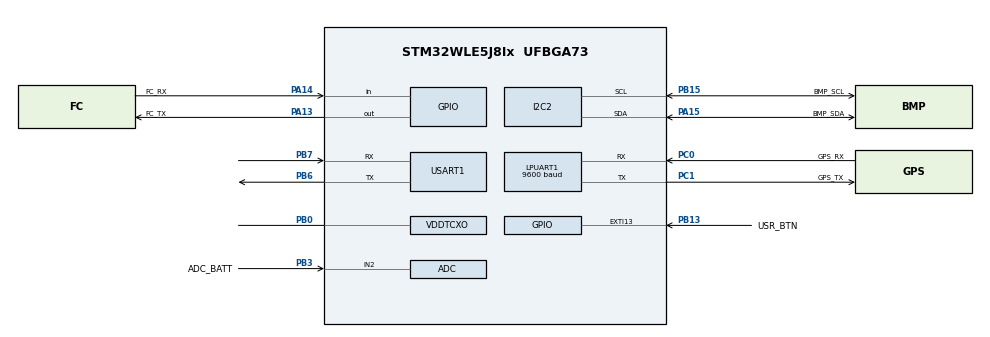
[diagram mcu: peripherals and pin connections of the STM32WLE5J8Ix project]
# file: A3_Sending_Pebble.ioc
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ADC.ExternalTrigConv=ADC_EXTERNALTRIG_T2_TRGO
ADC.LowPowerAutoWait=ENABLE
ADC.NbrOfConversion=1
ADC.SamplingTimeCommon1=ADC_SAMPLETIME_3CYCLES_5
ADC.SamplingTimeCommon2=ADC_SAMPLETIME_3CYCLES_5
ADC.SelectedChannel=ADC_CHANNEL_2
Dma.LPUART1_RX.1.Direction=DMA_PERIPH_TO_MEMORY
Dma.LPUART1_RX.1.EventEnable=DISABLE
Dma.LPUART1_RX.1.Instance=DMA1_Channel2
Dma.LPUART1_RX.1.MemDataAlignment=DMA_MDATAALIGN_BYTE
Dma.LPUART1_RX.1.MemInc=DMA_MINC_ENABLE
Dma.LPUART1_RX.1.Mode=DMA_CIRCULAR
Dma.LPUART1_RX.1.PeriphDataAlignment=DMA_PDATAALIGN_BYTE
Dma.LPUART1_RX.1.PeriphInc=DMA_PINC_DISABLE
Dma.LPUART1_RX.1.Polarity=HAL_DMAMUX_REQ_GEN_RISING
Dma.LPUART1_RX.1.Priority=DMA_PRIORITY_LOW
Dma.LPUART1_RX.1.RequestNumber=1
Dma.LPUART1_RX.1.SignalID=NONE
Dma.LPUART1_RX.1.SyncEnable=DISABLE
Dma.LPUART1_RX.1.SyncPolarity=HAL_DMAMUX_SYNC_NO_EVENT
Dma.LPUART1_RX.1.SyncRequestNumber=1
Dma.LPUART1_RX.1.SyncSignalID=NONE
Dma.Request0=USART1_TX
Dma.Request1=LPUART1_RX
Dma.USART1_TX.0.Direction=DMA_MEMORY_TO_PERIPH
Dma.USART1_TX.0.EventEnable=DISABLE
Dma.USART1_TX.0.Instance=DMA1_Channel1
Dma.USART1_TX.0.MemDataAlignment=DMA_MDATAALIGN_BYTE
Dma.USART1_TX.0.MemInc=DMA_MINC_ENABLE
Dma.USART1_TX.0.Mode=DMA_NORMAL
Dma.USART1_TX.0.PeriphDataAlignment=DMA_PDATAALIGN_BYTE
Dma.USART1_TX.0.PeriphInc=DMA_PINC_DISABLE
Dma.USART1_TX.0.Polarity=HAL_DMAMUX_REQ_GEN_RISING
Dma.USART1_TX.0.Priority=DMA_PRIORITY_LOW
Dma.USART1_TX.0.RequestNumber=1
Dma.USART1_TX.0.SignalID=NONE
Dma.USART1_TX.0.SyncEnable=DISABLE
Dma.USART1_TX.0.SyncPolarity=HAL_DMAMUX_SYNC_NO_EVENT
Dma.USART1_TX.0.SyncRequestNumber=1
Dma.USART1_TX.0.SyncSignalID=NONE
FREERTOS.Queues01=GPS_Queue,10,gps_t,0,Dynamic,NULL,NULL;Alt_Queue,10,alt_sensor_t,0,Dynamic,NULL,NULL;FC_Queue,10,uint16_t,0,Dynamic,NULL,NULL
FREERTOS.Tasks01=Conops_Task,24,512,Conops_Process,Default,NULL,Dynamic,NULL,NULL;GPS_Task,8,512,GPS_Process,Default,NULL,Dynamic,NULL,NULL;Altimeter_Task,8,512,Altimeter_Process,Default,NULL,Dynamic,NULL,NULL;FC_Task,8,512,FC_Process,Default,NULL,Dynamic,NULL,NULL;Telemetry,8,512,Telem_process,Default,NULL,Dynamic,NULL,NULL
FREERTOS.configTOTAL_HEAP_SIZE=16384
FREERTOS.configUSE_NEWLIB_REENTRANT=0
I2C2.Timing=0x10805D88
LPUART1.BaudRate=9600
LPUART1.ClockPrescaler=UART_PRESCALER_DIV2
Mcu.Family=STM32WL
Mcu.Name=STM32WLE5J8Ix
Mcu.Package=UFBGA73
Mcu.UserConstants=RTC_PREDIV_A,((1<<(15-RTC_N_PREDIV_S))-1);RTC_N_PREDIV_S,10;RTC_PREDIV_S,((1<<RTC_N_PREDIV_S)-1)
NVIC.ADC_IRQn=true\:5\:0\:false\:false\:true\:true\:true\:true\:true
NVIC.DMA1_Channel1_IRQn=true\:5\:0\:false\:false\:true\:true\:false\:true\:true
NVIC.DMA1_Channel2_IRQn=true\:5\:0\:false\:false\:true\:true\:false\:true\:true
NVIC.EXTI15_10_IRQn=true\:5\:0\:false\:false\:true\:true\:true\:true\:true
NVIC.I2C2_ER_IRQn=true\:5\:0\:false\:false\:true\:true\:true\:true\:true
NVIC.I2C2_EV_IRQn=true\:5\:0\:false\:false\:true\:true\:true\:true\:true
NVIC.LPUART1_IRQn=true\:5\:0\:false\:false\:true\:true\:true\:true\:true
NVIC.PriorityGroup=NVIC_PRIORITYGROUP_4
NVIC.RCC_IRQn=true\:5\:0\:false\:false\:true\:true\:true\:false\:true
NVIC.SUBGHZ_Radio_IRQn=true\:5\:0\:false\:false\:true\:true\:true\:true\:true
NVIC.TIM17_IRQn=true\:15\:0\:false\:false\:true\:false\:false\:true\:true
NVIC.TIM1_UP_IRQn=true\:5\:0\:false\:false\:true\:true\:true\:true\:true
NVIC.TimeBase=TIM17_IRQn
NVIC.TimeBaseIP=TIM17
NVIC.USART1_IRQn=true\:5\:0\:false\:false\:true\:true\:false\:true\:true
OSC_IN.Mode=HSE-TCXO
OSC_IN.Signal=RCC_OSC_IN
PA13.GPIO_Label=FC_TX
PA13.GPIO_Speed=GPIO_SPEED_FREQ_VERY_HIGH
PA13.PinState=GPIO_PIN_SET
PA13.Signal=GPIO_Output
PA14.GPIO_Label=FC_RX
PA14.GPIO_PuPd=GPIO_PULLUP
PA14.Signal=GPIO_Input
PA15.GPIO_Label=BMP_SDA
PA15.Mode=I2C
PA15.Signal=I2C2_SDA
PB0-VDD_TCXO.Mode=HSE-TCXO
PB0-VDD_TCXO.Signal=VDDTCXO
PB13.GPIO_Label=USR_BTN
PB13.GPIO_PuPd=GPIO_PULLDOWN
PB13.Signal=GPXTI13
PB15.GPIO_Label=BMP_SCL
PB15.Mode=I2C
PB15.Signal=I2C2_SCL
PB3.GPIO_Label=ADC_BATT
PB3.Mode=IN2
PB3.Signal=ADC_IN2
PB6.GPIO_Speed=GPIO_SPEED_FREQ_VERY_HIGH
PB6.Mode=Asynchronous
PB6.Signal=USART1_TX
PB7.GPIO_Speed=GPIO_SPEED_FREQ_VERY_HIGH
PB7.Mode=Asynchronous
PB7.Signal=USART1_RX
PC0.GPIO_Label=GPS_RX
PC0.Mode=Asynchronous
PC0.Signal=LPUART1_RX
PC1.GPIO_Label=GPS_TX
PC1.Mode=Asynchronous
PC1.Signal=LPUART1_TX
PC14-OSC32_IN.Mode=LSE-External-Oscillator
PC14-OSC32_IN.Signal=RCC_OSC32_IN
PC15-OSC32_OUT.Mode=LSE-External-Oscillator
PC15-OSC32_OUT.Signal=RCC_OSC32_OUT
ProjectManager.HeapSize=0x200
ProjectManager.StackSize=0x400
ProjectManager.TargetToolchain=CMake
RCC.AHBFreq_Value=48000000
RCC.APB1Freq_Value=48000000
RCC.APB1TimFreq_Value=48000000
RCC.APB2Freq_Value=48000000
RCC.APB2TimFreq_Value=48000000
RCC.APB3Freq_Value=48000000
RCC.CortexFreq_Value=48000000
RCC.HCLKFreq_Value=48000000
RCC.HSE_VALUE=8000000
RCC.HSI_VALUE=16000000
RCC.LSE_VALUE=32768
RCC.MSIClockRange=RCC_MSIRANGE_11
RCC.SYSCLKFreq_VALUE=48000000
RCC.VCOOutputFreq_Value=384000000
RTC.Alarm-Alarm\ A=RTC_ALARM_A
SUBGHZ_PHY.USE_RTC=true
SUBGHZ_PHY.USE_UART=true
SubGHz_Phy.BSP.number=2
SubGHz_Phy0.BSP.STBoard=false
SubGHz_Phy0.BSP.api=Unknown
SubGHz_Phy0.BSP.condition=\!SEM_SUBGHZ_USER_APPLICATION | SEM_SUBGHZ_USE_RTC
SubGHz_Phy0.BSP.instance=RTC
SubGHz_Phy0.BSP.ip=RTC
SubGHz_Phy0.BSP.mode=RTC Enabled
SubGHz_Phy0.BSP.name=RTC
SubGHz_Phy0.BSP.solution=RTC
SubGHz_Phy1.BSP.STBoard=false
SubGHz_Phy1.BSP.api=Unknown
SubGHz_Phy1.BSP.condition=\!SEM_SUBGHZ_USER_APPLICATION | SEM_SUBGHZ_USE_UART
SubGHz_Phy1.BSP.instance=USART1
SubGHz_Phy1.BSP.ip=(LPU|US)ART
SubGHz_Phy1.BSP.mode=Asynchronous
SubGHz_Phy1.BSP.name=USART
SubGHz_Phy1.BSP.solution=USART1
TIM1.AutoReloadPreload=TIM_AUTORELOAD_PRELOAD_ENABLE
TIM1.Period=999
TIM2.AutoReloadPreload=TIM_AUTORELOAD_PRELOAD_ENABLE
TIM2.Period=59999 
TIM2.Prescaler=41999
TIM2.TIM_MasterOutputTrigger=TIM_TRGO_UPDATE
USART1.VirtualMode-Asynchronous=VM_ASYNC
VP_ADV_TRACE_VS_ADV_TRACE.Mode=ADV_TRACE_Enabled
VP_FREERTOS_VS_CMSIS_V2.Mode=CMSIS_V2
VP_MISC_VS_MISC.Mode=MISC_Enabled
VP_RTC_VS_RTC_Activate.Mode=RTC_Enabled
VP_RTC_VS_RTC_Alarm_A_Intern.Mode=Alarm A
VP_RTC_VS_RTC_Calendar.Mode=RTC_Calendar
VP_SUBGHZ_PHY_VS_SubGhzPhy.Mode=SubGhzPhy_Enabled
VP_SUBGHZ_VS_SUBGHZ.Mode=SUBGHZ_Activate
VP_SYS_VS_tim17.Mode=TIM17
VP_TIM1_VS_ClockSourceINT.Mode=Internal
VP_TIM2_VS_ClockSourceINT.Mode=Internal
VP_TIMER_VS_TIMER.Mode=TIMER_Enabled
VP_TINY_LPM_VS_TINY_LPM.Mode=TINY_LPM_Enabled
board=custom

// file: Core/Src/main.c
/* USER CODE BEGIN Header */
/**
  ******************************************************************************
  * @file           : main.c
  * @brief          : Main program body
  ******************************************************************************
  * @attention
  *
  * Copyright (c) 2026 STMicroelectronics.
  * All rights reserved.
  *
  * This software is licensed under terms that can be found in the LICENSE file
  * in the root directory of this software component.
  * If no LICENSE file comes with this software, it is provided AS-IS.
  *
  ******************************************************************************
  */
/* USER CODE END Header */
#include "main.h"
#include "cmsis_os2.h"
#include "FreeRTOS.h"
#include "app_subghz_phy.h"

/* USER CODE BEGIN Includes */
#include "stm32wlxx_hal_gpio_ex.h"
#include "stm32wlxx_hal_i2c.h"
#include "subghz_phy_app.h"
#include "radio.h"
#include "sys_app.h"
#include "utilities_conf.h"
#include "gps.h"
#include <stdint.h>
#include <string.h>
#include <sys/_intsup.h>
#include "usart_if.h"
#include "altimeter.h"
#include "softuart.h"
/* USER CODE END Includes */

/* USER CODE BEGIN PTD */
typedef enum{
  OFF,
  PRE_FLIGHT,
  ARMED,
  IN_FLIGHT,
  RECOVERY
}deviceState_t;

typedef struct __attribute__((packed)){

  const char  header[3];
  uint8_t  utc_hour;
  uint8_t  utc_minute;
  uint8_t  utc_seconds;

  int32_t  lat;
  uint8_t  lat_ns;
  int32_t  lon;
  uint8_t  lon_ew;
  int32_t  altitude;

  uint8_t  status;
  uint8_t  fix_quality;
  uint8_t  num_sats;

  uint32_t baro_alt;
  uint16_t sensor_status;
  deviceState_t  rocket_state;
  uint16_t batt_v;

}telem_packet_t;
/* USER CODE END PTD */

ADC_HandleTypeDef hadc;

I2C_HandleTypeDef hi2c2;

UART_HandleTypeDef hlpuart1;
UART_HandleTypeDef huart1;
DMA_HandleTypeDef hdma_lpuart1_rx;
DMA_HandleTypeDef hdma_usart1_tx;

RTC_HandleTypeDef hrtc;

SUBGHZ_HandleTypeDef hsubghz;

TIM_HandleTypeDef htim1;
TIM_HandleTypeDef htim2;

/* Definitions for Conops_Task */
osThreadId_t Conops_TaskHandle;
const osThreadAttr_t Conops_Task_attributes = {
  .name = "Conops_Task",
  .priority = (osPriority_t) osPriorityNormal,
  .stack_size = 512 * 4
};
/* Definitions for GPS_Task */
osThreadId_t GPS_TaskHandle;
const osThreadAttr_t GPS_Task_attributes = {
  .name = "GPS_Task",
  .priority = (osPriority_t) osPriorityLow,
  .stack_size = 512 * 4
};
/* Definitions for Altimeter_Task */
osThreadId_t Altimeter_TaskHandle;
const osThreadAttr_t Altimeter_Task_attributes = {
  .name = "Altimeter_Task",
  .priority = (osPriority_t) osPriorityLow,
  .stack_size = 512 * 4
};
/* Definitions for FC_Task */
osThreadId_t FC_TaskHandle;
const osThreadAttr_t FC_Task_attributes = {
  .name = "FC_Task",
  .priority = (osPriority_t) osPriorityLow,
  .stack_size = 512 * 4
};
/* Definitions for Telemetry */
osThreadId_t TelemetryHandle;
const osThreadAttr_t Telemetry_attributes = {
  .name = "Telemetry",
  .priority = (osPriority_t) osPriorityLow,
  .stack_size = 512 * 4
};
/* Definitions for GPS_Queue */
osMessageQueueId_t GPS_QueueHandle;
const osMessageQueueAttr_t GPS_Queue_attributes = {
  .name = "GPS_Queue"
};
/* Definitions for Alt_Queue */
osMessageQueueId_t Alt_QueueHandle;
const osMessageQueueAttr_t Alt_Queue_attributes = {
  .name = "Alt_Queue"
};
/* Definitions for FC_Queue */
osMessageQueueId_t FC_QueueHandle;
const osMessageQueueAttr_t FC_Queue_attributes = {
  .name = "FC_Queue"
};

void SystemClock_Config(void);
static void MX_GPIO_Init(void);
static void MX_LPUART1_UART_Init(void);
static void MX_I2C2_Init(void);
static void MX_TIM1_Init(void);
static void MX_ADC_Init(void);
static void MX_TIM2_Init(void);
void Conops_Process(void *argument);
void GPS_Process(void *argument);
void Altimeter_Process(void *argument);
void FC_Process(void *argument);
void Telem_process(void *argument);

/* USER CODE BEGIN PFP */
void header_art();
void check_debug_pins();
uint8_t getchar_v2(uint8_t SoftUartNumber);
static void setState(deviceState_t new_state);

/* USER CODE END PFP */

/* USER CODE BEGIN 0 */

//Variables for GPS
#define NMEASIZE 85                        // max NMEA sentence length
extern uint8_t dma_rx_buf[];               // circular DMA landing buffer (defined in usart_if.c)
static uint8_t gps_buffer[NMEASIZE + 1];   // assembles one NMEA sentence
static volatile uint8_t gps_ready_flg;     // set when a full sentence is ready
gps_t gps_data;                            // holds the gps data

deviceState_t state;

uint16_t batt_mV;
uint16_t batt_voltage_lookup[] = {3500, 3560, 3620, 3680, 3740, 3800, 3860, 3920, 3980, 4040, 4100};
/* USER CODE END 0 */

int main(void)
{

  /* MCU Configuration--------------------------------------------------------*/

  /* Reset of all peripherals, Initializes the Flash interface and the Systick. */
  HAL_Init();

  /* Configure the system clock */
  SystemClock_Config();

  /* Initialize all configured peripherals */
  MX_GPIO_Init();
  MX_DMA_Init();
  MX_RTC_Init();
  MX_USART1_UART_Init();
  MX_LPUART1_UART_Init();
  MX_I2C2_Init();
  MX_TIM1_Init();
  MX_ADC_Init();
  MX_TIM2_Init();

  /* Init scheduler */
  osKernelInitialize();

  /* Create the queue(s) */
  /* creation of GPS_Queue */
  GPS_QueueHandle = osMessageQueueNew (10, sizeof(gps_t), &GPS_Queue_attributes);

  /* creation of Alt_Queue */
  Alt_QueueHandle = osMessageQueueNew (10, sizeof(alt_sensor_t), &Alt_Queue_attributes);

  /* creation of FC_Queue */
  FC_QueueHandle = osMessageQueueNew (10, sizeof(uint16_t), &FC_Queue_attributes);

  /* Create the thread(s) */
  /* creation of Conops_Task */
  Conops_TaskHandle = osThreadNew(Conops_Process, NULL, &Conops_Task_attributes);

  /* creation of GPS_Task */
  GPS_TaskHandle = osThreadNew(GPS_Process, NULL, &GPS_Task_attributes);

  /* creation of Altimeter_Task */
  Altimeter_TaskHandle = osThreadNew(Altimeter_Process, NULL, &Altimeter_Task_attributes);

  /* creation of FC_Task */
  FC_TaskHandle = osThreadNew(FC_Process, NULL, &FC_Task_attributes);

  /* creation of Telemetry */
  TelemetryHandle = osThreadNew(Telem_process, NULL, &Telemetry_attributes);

  /* Start scheduler */
  osKernelStart();

  /* We should never get here as control is now taken by the scheduler */

  /* Infinite loop */
  while (1)
  {

  }
}

void SystemClock_Config(void)
{
  RCC_OscInitTypeDef RCC_OscInitStruct = {0};
  RCC_ClkInitTypeDef RCC_ClkInitStruct = {0};

  /** Configure LSE Drive Capability
  */
  HAL_PWR_EnableBkUpAccess();
  __HAL_RCC_LSEDRIVE_CONFIG(RCC_LSEDRIVE_LOW);

  /** Configure the main internal regulator output voltage
  */
  __HAL_PWR_VOLTAGESCALING_CONFIG(PWR_REGULATOR_VOLTAGE_SCALE1);

  /** Initializes the CPU, AHB and APB buses clocks
  */
  RCC_OscInitStruct.OscillatorType = RCC_OSCILLATORTYPE_LSI|RCC_OSCILLATORTYPE_LSE
                              |RCC_OSCILLATORTYPE_MSI;
  RCC_OscInitStruct.LSEState = RCC_LSE_ON;
  RCC_OscInitStruct.MSIState = RCC_MSI_ON;
  RCC_OscInitStruct.MSICalibrationValue = RCC_MSICALIBRATION_DEFAULT;
  RCC_OscInitStruct.MSIClockRange = RCC_MSIRANGE_11;
  RCC_OscInitStruct.LSIDiv = RCC_LSI_DIV1;
  RCC_OscInitStruct.LSIState = RCC_LSI_ON;
  RCC_OscInitStruct.PLL.PLLState = RCC_PLL_NONE;
  if (HAL_RCC_OscConfig(&RCC_OscInitStruct) != HAL_OK)
  {
    Error_Handler();
  }

  /** Configure the SYSCLKSource, HCLK, PCLK1 and PCLK2 clocks dividers
  */
  RCC_ClkInitStruct.ClockType = RCC_CLOCKTYPE_HCLK3|RCC_CLOCKTYPE_HCLK
                              |RCC_CLOCKTYPE_SYSCLK|RCC_CLOCKTYPE_PCLK1
                              |RCC_CLOCKTYPE_PCLK2;
  RCC_ClkInitStruct.SYSCLKSource = RCC_SYSCLKSOURCE_MSI;
  RCC_ClkInitStruct.AHBCLKDivider = RCC_SYSCLK_DIV1;
  RCC_ClkInitStruct.APB1CLKDivider = RCC_HCLK_DIV1;
  RCC_ClkInitStruct.APB2CLKDivider = RCC_HCLK_DIV1;
  RCC_ClkInitStruct.AHBCLK3Divider = RCC_SYSCLK_DIV1;

  if (HAL_RCC_ClockConfig(&RCC_ClkInitStruct, FLASH_LATENCY_2) != HAL_OK)
  {
    Error_Handler();
  }
}

static void MX_ADC_Init(void)
{

  /** Configure the global features of the ADC (Clock, Resolution, Data Alignment and number of conversion)
  */
  hadc.Instance = ADC;
  hadc.Init.ClockPrescaler = ADC_CLOCK_SYNC_PCLK_DIV2;
  hadc.Init.Resolution = ADC_RESOLUTION_12B;
  hadc.Init.DataAlign = ADC_DATAALIGN_RIGHT;
  hadc.Init.ScanConvMode = ADC_SCAN_DISABLE;
  hadc.Init.EOCSelection = ADC_EOC_SINGLE_CONV;
  hadc.Init.LowPowerAutoWait = ENABLE;
  hadc.Init.LowPowerAutoPowerOff = DISABLE;
  hadc.Init.ContinuousConvMode = DISABLE;
  hadc.Init.NbrOfConversion = 1;
  hadc.Init.DiscontinuousConvMode = DISABLE;
  hadc.Init.ExternalTrigConv = ADC_EXTERNALTRIG_T2_TRGO;
  hadc.Init.ExternalTrigConvEdge = ADC_EXTERNALTRIGCONVEDGE_RISING;
  hadc.Init.DMAContinuousRequests = DISABLE;
  hadc.Init.Overrun = ADC_OVR_DATA_PRESERVED;
  hadc.Init.SamplingTimeCommon1 = ADC_SAMPLETIME_3CYCLES_5;
  hadc.Init.SamplingTimeCommon2 = ADC_SAMPLETIME_3CYCLES_5;
  hadc.Init.OversamplingMode = DISABLE;
  hadc.Init.TriggerFrequencyMode = ADC_TRIGGER_FREQ_HIGH;
  if (HAL_ADC_Init(&hadc) != HAL_OK)
  {
    Error_Handler();
  }

}

static void MX_I2C2_Init(void)
{

  hi2c2.Instance = I2C2;
  hi2c2.Init.Timing = 0x10805D88;
  hi2c2.Init.OwnAddress1 = 0;
  hi2c2.Init.AddressingMode = I2C_ADDRESSINGMODE_7BIT;
  hi2c2.Init.DualAddressMode = I2C_DUALADDRESS_DISABLE;
  hi2c2.Init.OwnAddress2 = 0;
  hi2c2.Init.OwnAddress2Masks = I2C_OA2_NOMASK;
  hi2c2.Init.GeneralCallMode = I2C_GENERALCALL_DISABLE;
  hi2c2.Init.NoStretchMode = I2C_NOSTRETCH_DISABLE;
  if (HAL_I2C_Init(&hi2c2) != HAL_OK)
  {
    Error_Handler();
  }

  /** Configure Analogue filter
  */
  if (HAL_I2CEx_ConfigAnalogFilter(&hi2c2, I2C_ANALOGFILTER_ENABLE) != HAL_OK)
  {
    Error_Handler();
  }

  /** Configure Digital filter
  */
  if (HAL_I2CEx_ConfigDigitalFilter(&hi2c2, 0) != HAL_OK)
  {
    Error_Handler();
  }

}

static void MX_LPUART1_UART_Init(void)
{

  hlpuart1.Instance = LPUART1;
  hlpuart1.Init.BaudRate = 9600;
  hlpuart1.Init.WordLength = UART_WORDLENGTH_8B;
  hlpuart1.Init.StopBits = UART_STOPBITS_1;
  hlpuart1.Init.Parity = UART_PARITY_NONE;
  hlpuart1.Init.Mode = UART_MODE_TX_RX;
  hlpuart1.Init.HwFlowCtl = UART_HWCONTROL_NONE;
  hlpuart1.Init.OneBitSampling = UART_ONE_BIT_SAMPLE_DISABLE;
  hlpuart1.Init.ClockPrescaler = UART_PRESCALER_DIV2;
  hlpuart1.AdvancedInit.AdvFeatureInit = UART_ADVFEATURE_NO_INIT;
  hlpuart1.FifoMode = UART_FIFOMODE_DISABLE;
  if (HAL_UART_Init(&hlpuart1) != HAL_OK)
  {
    Error_Handler();
  }
  if (HAL_UARTEx_SetTxFifoThreshold(&hlpuart1, UART_TXFIFO_THRESHOLD_1_8) != HAL_OK)
  {
    Error_Handler();
  }
  if (HAL_UARTEx_SetRxFifoThreshold(&hlpuart1, UART_RXFIFO_THRESHOLD_1_8) != HAL_OK)
  {
    Error_Handler();
  }
  if (HAL_UARTEx_DisableFifoMode(&hlpuart1) != HAL_OK)
  {
    Error_Handler();
  }

}

void MX_USART1_UART_Init(void)
{

  huart1.Instance = USART1;
  huart1.Init.BaudRate = 115200;
  huart1.Init.WordLength = UART_WORDLENGTH_8B;
  huart1.Init.StopBits = UART_STOPBITS_1;
  huart1.Init.Parity = UART_PARITY_NONE;
  huart1.Init.Mode = UART_MODE_TX_RX;
  huart1.Init.HwFlowCtl = UART_HWCONTROL_NONE;
  huart1.Init.OverSampling = UART_OVERSAMPLING_16;
  huart1.Init.OneBitSampling = UART_ONE_BIT_SAMPLE_DISABLE;
  huart1.Init.ClockPrescaler = UART_PRESCALER_DIV1;
  huart1.AdvancedInit.AdvFeatureInit = UART_ADVFEATURE_NO_INIT;
  if (HAL_UART_Init(&huart1) != HAL_OK)
  {
    Error_Handler();
  }
  if (HAL_UARTEx_SetTxFifoThreshold(&huart1, UART_TXFIFO_THRESHOLD_1_8) != HAL_OK)
  {
    Error_Handler();
  }
  if (HAL_UARTEx_SetRxFifoThreshold(&huart1, UART_RXFIFO_THRESHOLD_1_8) != HAL_OK)
  {
    Error_Handler();
  }
  if (HAL_UARTEx_DisableFifoMode(&huart1) != HAL_OK)
  {
    Error_Handler();
  }

}

void MX_RTC_Init(void)
{

  RTC_TimeTypeDef sTime = {0};
  RTC_DateTypeDef sDate = {0};
  RTC_AlarmTypeDef sAlarm = {0};

  /** Initialize RTC Only
  */
  hrtc.Instance = RTC;
  hrtc.Init.HourFormat = RTC_HOURFORMAT_24;
  hrtc.Init.AsynchPrediv = 127;
  hrtc.Init.SynchPrediv = 255;
  hrtc.Init.OutPut = RTC_OUTPUT_DISABLE;
  hrtc.Init.OutPutRemap = RTC_OUTPUT_REMAP_NONE;
  hrtc.Init.OutPutPolarity = RTC_OUTPUT_POLARITY_HIGH;
  hrtc.Init.OutPutType = RTC_OUTPUT_TYPE_OPENDRAIN;
  hrtc.Init.OutPutPullUp = RTC_OUTPUT_PULLUP_NONE;
  hrtc.Init.BinMode = RTC_BINARY_NONE;
  if (HAL_RTC_Init(&hrtc) != HAL_OK)
  {
    Error_Handler();
  }

  /** Initialize RTC and set the Time and Date
  */
  sTime.Hours = 0x0;
  sTime.Minutes = 0x0;
  sTime.Seconds = 0x0;
  sTime.DayLightSaving = RTC_DAYLIGHTSAVING_NONE;
  sTime.StoreOperation = RTC_STOREOPERATION_RESET;
  if (HAL_RTC_SetTime(&hrtc, &sTime, RTC_FORMAT_BCD) != HAL_OK)
  {
    Error_Handler();
  }
  sDate.WeekDay = RTC_WEEKDAY_MONDAY;
  sDate.Month = RTC_MONTH_JANUARY;
  sDate.Date = 0x1;
  sDate.Year = 0x0;

  if (HAL_RTC_SetDate(&hrtc, &sDate, RTC_FORMAT_BCD) != HAL_OK)
  {
    Error_Handler();
  }

  /** Enable the Alarm A
  */
  sAlarm.AlarmTime.Hours = 0x0;
  sAlarm.AlarmTime.Minutes = 0x0;
  sAlarm.AlarmTime.Seconds = 0x0;
  sAlarm.AlarmTime.SubSeconds = 0x0;
  sAlarm.AlarmTime.DayLightSaving = RTC_DAYLIGHTSAVING_NONE;
  sAlarm.AlarmTime.StoreOperation = RTC_STOREOPERATION_RESET;
  sAlarm.AlarmMask = RTC_ALARMMASK_NONE;
  sAlarm.AlarmSubSecondMask = RTC_ALARMSUBSECONDMASK_ALL;
  sAlarm.AlarmDateWeekDaySel = RTC_ALARMDATEWEEKDAYSEL_DATE;
  sAlarm.AlarmDateWeekDay = 0x1;
  sAlarm.Alarm = RTC_ALARM_A;
  if (HAL_RTC_SetAlarm(&hrtc, &sAlarm, RTC_FORMAT_BCD) != HAL_OK)
  {
    Error_Handler();
  }

}

void MX_SUBGHZ_Init(void)
{

  hsubghz.Init.BaudratePrescaler = SUBGHZSPI_BAUDRATEPRESCALER_8;
  if (HAL_SUBGHZ_Init(&hsubghz) != HAL_OK)
  {
    Error_Handler();
  }

}

static void MX_TIM1_Init(void)
{

  TIM_ClockConfigTypeDef sClockSourceConfig = {0};
  TIM_MasterConfigTypeDef sMasterConfig = {0};

  htim1.Instance = TIM1;
  htim1.Init.Prescaler = 0;
  htim1.Init.CounterMode = TIM_COUNTERMODE_UP;
  htim1.Init.Period = 999;
  htim1.Init.ClockDivision = TIM_CLOCKDIVISION_DIV1;
  htim1.Init.RepetitionCounter = 0;
  htim1.Init.AutoReloadPreload = TIM_AUTORELOAD_PRELOAD_ENABLE;
  if (HAL_TIM_Base_Init(&htim1) != HAL_OK)
  {
    Error_Handler();
  }
  sClockSourceConfig.ClockSource = TIM_CLOCKSOURCE_INTERNAL;
  if (HAL_TIM_ConfigClockSource(&htim1, &sClockSourceConfig) != HAL_OK)
  {
    Error_Handler();
  }
  sMasterConfig.MasterOutputTrigger = TIM_TRGO_RESET;
  sMasterConfig.MasterOutputTrigger2 = TIM_TRGO2_RESET;
  sMasterConfig.MasterSlaveMode = TIM_MASTERSLAVEMODE_DISABLE;
  if (HAL_TIMEx_MasterConfigSynchronization(&htim1, &sMasterConfig) != HAL_OK)
  {
    Error_Handler();
  }
  /* USER CODE BEGIN TIM1_Init 2 */
  /* TIM1 @ 48kHz drives the software UART bit engine (5x the 9600 baud rate) */
  HAL_TIM_Base_Start_IT(&htim1);
  /* USER CODE END TIM1_Init 2 */

}

static void MX_TIM2_Init(void)
{

  TIM_ClockConfigTypeDef sClockSourceConfig = {0};
  TIM_MasterConfigTypeDef sMasterConfig = {0};

  htim2.Instance = TIM2;
  htim2.Init.Prescaler = 41999;
  htim2.Init.CounterMode = TIM_COUNTERMODE_UP;
  htim2.Init.Period = 59999 ;
  htim2.Init.ClockDivision = TIM_CLOCKDIVISION_DIV1;
  htim2.Init.AutoReloadPreload = TIM_AUTORELOAD_PRELOAD_ENABLE;
  if (HAL_TIM_Base_Init(&htim2) != HAL_OK)
  {
    Error_Handler();
  }
  sClockSourceConfig.ClockSource = TIM_CLOCKSOURCE_INTERNAL;
  if (HAL_TIM_ConfigClockSource(&htim2, &sClockSourceConfig) != HAL_OK)
  {
    Error_Handler();
  }
  sMasterConfig.MasterOutputTrigger = TIM_TRGO_UPDATE;
  sMasterConfig.MasterSlaveMode = TIM_MASTERSLAVEMODE_DISABLE;
  if (HAL_TIMEx_MasterConfigSynchronization(&htim2, &sMasterConfig) != HAL_OK)
  {
    Error_Handler();
  }

}

void MX_DMA_Init(void)
{

  /* DMA controller clock enable */
  __HAL_RCC_DMAMUX1_CLK_ENABLE();
  __HAL_RCC_DMA1_CLK_ENABLE();

  /* DMA interrupt init */
  /* DMA1_Channel1_IRQn interrupt configuration */
  HAL_NVIC_SetPriority(DMA1_Channel1_IRQn, 5, 0);
  HAL_NVIC_EnableIRQ(DMA1_Channel1_IRQn);
  /* DMA1_Channel2_IRQn interrupt configuration */
  HAL_NVIC_SetPriority(DMA1_Channel2_IRQn, 5, 0);
  HAL_NVIC_EnableIRQ(DMA1_Channel2_IRQn);

}

static void MX_GPIO_Init(void)
{
  GPIO_InitTypeDef GPIO_InitStruct = {0};

  /* GPIO Ports Clock Enable */
  __HAL_RCC_GPIOA_CLK_ENABLE();
  __HAL_RCC_GPIOB_CLK_ENABLE();
  __HAL_RCC_GPIOC_CLK_ENABLE();

  /*Configure GPIO pin Output Level */
  HAL_GPIO_WritePin(FC_TX_GPIO_Port, FC_TX_Pin, GPIO_PIN_SET);

  /*Configure GPIO pin : FC_RX_Pin */
  GPIO_InitStruct.Pin = FC_RX_Pin;
  GPIO_InitStruct.Mode = GPIO_MODE_INPUT;
  GPIO_InitStruct.Pull = GPIO_PULLUP;
  HAL_GPIO_Init(FC_RX_GPIO_Port, &GPIO_InitStruct);

  /*Configure GPIO pin : FC_TX_Pin */
  GPIO_InitStruct.Pin = FC_TX_Pin;
  GPIO_InitStruct.Mode = GPIO_MODE_OUTPUT_PP;
  GPIO_InitStruct.Pull = GPIO_NOPULL;
  GPIO_InitStruct.Speed = GPIO_SPEED_FREQ_VERY_HIGH;
  HAL_GPIO_Init(FC_TX_GPIO_Port, &GPIO_InitStruct);

  /*Configure GPIO pin : USR_BTN_Pin */
  GPIO_InitStruct.Pin = USR_BTN_Pin;
  GPIO_InitStruct.Mode = GPIO_MODE_IT_RISING;
  GPIO_InitStruct.Pull = GPIO_PULLDOWN;
  HAL_GPIO_Init(USR_BTN_GPIO_Port, &GPIO_InitStruct);

  /* EXTI interrupt init*/
  HAL_NVIC_SetPriority(EXTI15_10_IRQn, 5, 0);
  HAL_NVIC_EnableIRQ(EXTI15_10_IRQn);

}

/* USER CODE BEGIN 4 */

// User Button Interrupt
void HAL_GPIO_EXTI_Callback(uint16_t GPIO_Pin)
{

  if(GPIO_Pin == USR_BTN_Pin) {
    APP_LOG(TS_OFF, VLEVEL_ALWAYS, "Button Pressed, changing pins to debug mode. \r\n");

    // Reconfigure PA13 (SWDIO) and PA14 (SWCLK) from GPIO back to SWD debug
    GPIO_InitTypeDef GPIO_InitStruct = {0};

    __HAL_RCC_GPIOA_CLK_ENABLE();

    GPIO_InitStruct.Pin       = GPIO_PIN_13 | GPIO_PIN_14;
    GPIO_InitStruct.Mode      = GPIO_MODE_AF_PP;
    GPIO_InitStruct.Pull      = GPIO_NOPULL;
    GPIO_InitStruct.Speed     = GPIO_SPEED_FREQ_VERY_HIGH;
    GPIO_InitStruct.Alternate = GPIO_AF0_SWD;
    HAL_GPIO_Init(GPIOA, &GPIO_InitStruct);

    check_debug_pins();
  }

}

void header_art(){
  APP_LOG(TS_OFF, VLEVEL_L, "\r\n");
  APP_LOG(TS_OFF, VLEVEL_L, "  _   _ __  *  __ ____    \r\n");
  APP_LOG(TS_OFF, VLEVEL_L, " | | | |\\ \\   / /|  _ \\   \r\n");
  APP_LOG(TS_OFF, VLEVEL_L, " | | | | \\ \\ / / | |_) |  \r\n");
  APP_LOG(TS_OFF, VLEVEL_L, " | |_| |  \\ V /  |  _ <   \r\n");
  APP_LOG(TS_OFF, VLEVEL_L, "  \\___/ +  \\_/ + |_| \\_\\  \r\n");
  APP_LOG(TS_OFF, VLEVEL_L, "\r\n");
  APP_LOG(TS_OFF, VLEVEL_L, "------ANDURIL 3---------\r\n");
  APP_LOG(TS_OFF, VLEVEL_L, "----Sending Pebble------\r\n");
  APP_LOG(TS_OFF, VLEVEL_L, "LORA_FREQUENCY:  %d MHz\n\r", RF_FREQUENCY/1000000);
  APP_LOG(TS_OFF, VLEVEL_L, "LORA_BW:         %d kHz\n\r", (1 << LORA_BANDWIDTH) * 125);
  APP_LOG(TS_OFF, VLEVEL_L, "LORA_SF:         %d\n\r", LORA_SPREADING_FACTOR);
  APP_LOG(TS_OFF, VLEVEL_L, "CALL_SIGN:       %s\n\r", CALL_SIGN);
  APP_LOG(TS_OFF, VLEVEL_L, "------------------------\n\r");

  // Report current config of PA13 (SWDIO) / PA14 (SWCLK)
  check_debug_pins();
  APP_LOG(TS_OFF, VLEVEL_L, "------------------------\n\r");

  APP_LOG(TS_OFF, VLEVEL_L, "\r\n");
  APP_LOG(TS_OFF, VLEVEL_L, "\r\n");

}

void check_debug_pins(){

  // Report current config of PA13 (SWDIO) / PA14 (SWCLK)
  static const char *mode_str[4] = { "RX", "TX", "DEBUG", "ANALOG" };
  for (uint32_t pin = 13; pin <= 14; pin++) {
    uint32_t mode = (GPIOA->MODER >> (pin * 2)) & 0x3;
    APP_LOG(TS_OFF, VLEVEL_L, "PA%lu: %s\r\n", pin, mode_str[mode]);
  }
}

/* USER CODE END 4 */

/* USER CODE BEGIN Header_Conops_Process */

static void setState(deviceState_t new_state){
  state =  new_state;
  switch(new_state){
    case OFF:
    // power off if battery is to low
    //state it wake up in
      break;
    case PRE_FLIGHT:
      //commands to send (frequency change, and ARM)
      // maybe should also be in low power mode except radio
      break;
    case ARMED:
      // send arm command to flight computer.
      // wait for gps lock before going into in_flight
      // start timer in case flight computer fails to
      break;
    case IN_FLIGHT:
    //  normal operation
    //  flight computer detect recovery
    // waht happens if we lose lock?
      break;
    case RECOVERY:
    // turn off bmp, fc communication, reduce transmission rates, keep gps on and battery on
    // turn off flash
      break;
    default:
      break;
  }
}

/**
  * @brief  Function implementing the Conops_Task thread.
  * @param  argument: Not used
  * @retval None
  */
/* USER CODE END Header_Conops_Process */
void Conops_Process(void *argument)
{
  /* init code for SubGHz_Phy */
  MX_SubGHz_Phy_Init();
  /* USER CODE BEGIN 5 */
  header_art();
  state = OFF;
  deviceState_t next_state = PRE_FLIGHT;

  /* Infinite loop */
  for(;;)
  {
    APP_LOG(TS_OFF, VLEVEL_ALWAYS, "Changing states...\r\n");
    if(next_state != state) setState(next_state);
    osThreadFlagsWait(0x01, osFlagsWaitAny, osWaitForever);
  }
  /* USER CODE END 5 */
}

void GPS_Process(void *argument)
{
  /* USER CODE BEGIN GPS_Process */

  gps_config();

  uint16_t rd_pos   = 0;   // our read index into the circular DMA buffer
  uint16_t rx_index = 0;   // position within the sentence being assembled
  /* Infinite loop */
  for(;;)
  {
    //APP_LOG(TS_OFF, VLEVEL_ALWAYS, "GPS Process\r\n");
    // write index = how far the DMA has filled (NDTR counts down from SIZE)
    uint16_t wr_pos = DMA_RX_BUF_SIZE - __HAL_DMA_GET_COUNTER(&hdma_lpuart1_rx);

    while (rd_pos != wr_pos)
    {
      uint8_t c = dma_rx_buf[rd_pos];
      rd_pos = (rd_pos + 1) % DMA_RX_BUF_SIZE;

      if (c == '$') {                                   // start of sentence
        rx_index = 0;
        gps_buffer[rx_index++] = c;
      } else if (c == '\n' || c == '\r') {              // end of sentence
        if (rx_index != 0) {
          gps_buffer[rx_index] = '\0';
          gps_ready_flg = 1;
        }
        rx_index = 0;
      } else if (rx_index > 0 && rx_index < NMEASIZE) { // middle (only inside a sentence)
        gps_buffer[rx_index++] = c;
      } else {
        rx_index = 0;                                   // junk before '$' / overflow -resync
      }
    }

    if (gps_ready_flg)
    {
      // gps_parser() is destructive (writes '\0' over commas), so hand it a
      // copy — the original stays intact for the async trace to finish sending.
      static uint8_t gps_parse_buf[NMEASIZE + 1];
      memcpy(gps_parse_buf, gps_buffer, sizeof(gps_parse_buf));

      //APP_LOG(TS_OFF, VLEVEL_L, "%s\r\n", gps_buffer);
      gps_parser(&gps_data, gps_parse_buf);

      //send data through queue
      osMessageQueuePut(GPS_QueueHandle,&gps_data,0,osWaitForever);

      gps_ready_flg = 0;
    }

    osDelay(500);
  }
  /* USER CODE END GPS_Process */
}

void Altimeter_Process(void *argument)
{
  /* USER CODE BEGIN Altimeter_Process */
  uint8_t err;
  alt_sensor_t altimeter;

  err = alt_config(&altimeter);
  if(err != ALT_I2C_OK){APP_LOG(TS_OFF, VLEVEL_ALWAYS, "Altimeter config error: %d\r\n", err);}
  else {APP_LOG(TS_OFF, VLEVEL_ALWAYS, "Altimeter configured successfully.\r\n");}

  /* Infinite loop */
  for(;;)
  {
    err = alt_get_data(&altimeter);   // returns ALT_I2C_BUSY until a conversion is ready
    if(err == ALT_I2C_OK){
      osMessageQueuePut(Alt_QueueHandle,&altimeter,0,osWaitForever);
    }
    osDelay(500);
  }
  /* USER CODE END Altimeter_Process */
}

void FC_Process(void *argument)
{
  /* USER CODE BEGIN FC_Process */
  static char line[64];
  static uint8_t line_len = 0;
  uint8_t buf[64];
  uint8_t len;

  SoftUartInit(0,FC_TX_GPIO_Port,FC_TX_Pin,FC_RX_GPIO_Port, FC_RX_Pin);
  SoftUartEnableRx(0);

  // for now
  uint16_t sensor_status = 0xFFFF;

  /* Infinite loop */
  for(;;)
  {
    len = SoftUartRxAlavailable(0);
    if (len > 0) {
        if (SoftUartReadRxBuffer(0, buf, len) == SoftUart_OK) {
          for (uint8_t i = 0; i < len; i++) {
            uint8_t c = buf[i];
            if (c == '\r' || c == '\n') {
                line[line_len] = '\0';

                if (strcmp(line, "ARM") == 0) {
                    SoftUartWaitUntilTxComplate(0);
                    SoftUartPuts(0, (uint8_t*)"\r\nARM command received\r\n", 24);
                } else {
                    SoftUartWaitUntilTxComplate(0);
                    SoftUartPuts(0, (uint8_t*)"\r\n", 2);
                }
                line_len = 0;
            } else if (line_len < sizeof(line) - 1) {
                line[line_len++] = c;
                SoftUartWaitUntilTxComplate(0);   // let the previous byte finish
                SoftUartPuts(0, &c, 1);           // echo
            }
          }

        }
    }
    osMessageQueuePut(FC_QueueHandle, &sensor_status, 0, 500);
    osDelay(500); //changed for now
  }
  /* USER CODE END FC_Process */
}

/* USER CODE BEGIN Header_Telem_process */

//adc callback
void HAL_ADC_ConvCpltCallback(ADC_HandleTypeDef *hadc)
{

    batt_mV = (uint16_t)HAL_ADC_GetValue(hadc)*2;
    APP_LOG(TS_OFF, VLEVEL_ALWAYS, "Batt_mv: %u \r\n",batt_mV);

}

/**
* @brief Function implementing the telemetry thread.
* @param argument: Not used
* @retval None
*/
/* USER CODE END Header_Telem_process */
void Telem_process(void *argument)
{
  /* USER CODE BEGIN Telem_process */

  // adc init
  // receive gps struct queues
  // receive alt struct queues
  // reveive flight computer queue
  // grab battery value
  telem_packet_t payload;
  memset(&payload, 0, sizeof(payload));
  memcpy(payload.header, (uint8_t *)"$SP", 3);

  gps_t gps;
  alt_sensor_t alt;
  uint16_t fc_data;

  osStatus_t status;
  //start adc
  HAL_ADCEx_Calibration_Start(&hadc);
  HAL_ADC_Start_IT(&hadc);
  HAL_TIM_Base_Start(&htim2);

  /* Infinite loop */
  for(;;)
  {
    payload.rocket_state = state;
    payload.batt_v = batt_mV;
    status = osMessageQueueGet(GPS_QueueHandle, &gps, NULL, osWaitForever);
    if(status == osOK){
      payload.utc_hour    = gps.hour;
      payload.utc_minute  = gps.minute;
      payload.utc_seconds = gps.second;

      payload.lat         = gps.lat;
      payload.lat_ns      = gps.lat_ns;
      payload.lon         = gps.lon;
      payload.lon_ew      = gps.lon_ew;
      payload.altitude    = gps.altitude;

      payload.status      = gps.status;
      payload.fix_quality = gps.fix_quality;
      payload.num_sats    = gps.num_sats;
    }else{
      APP_LOG(TS_OFF, VLEVEL_ALWAYS, "Error GPS Queue: %u \r\n", status);
    }

    status = osMessageQueueGet(Alt_QueueHandle, &alt, NULL, osWaitForever);
    if(status == osOK){
      //check for own status
      if((alt.i2c_status != ALT_I2C_OK) || (alt.errors != 0)){
        //APP_LOG(TS_OFF, VLEVEL_ALWAYS, "ALT Error: %u \r\n",alt.errors);

      }
      else{
        payload.baro_alt  = alt.pressure;
      }
    }else{
      APP_LOG(TS_OFF, VLEVEL_ALWAYS, "Error Alt Queue: %u \r\n", status);
    }

    status = osMessageQueueGet(FC_QueueHandle, &fc_data, NULL, osWaitForever);
    if(status == osOK){
      payload.sensor_status = fc_data;
    }else{
      APP_LOG(TS_OFF, VLEVEL_ALWAYS, "Error FC Queue: %u \r\n", status);
    }

      // dump the raw payload packet as hex
    char line[3 * sizeof(payload) + 1];
    uint8_t *p = (uint8_t *)&payload;
    for (uint32_t i = 0; i < sizeof(payload); i++)
    snprintf(&line[i * 3],4, "%02X ", p[i]);
    APP_LOG(TS_OFF, VLEVEL_ALWAYS, "PKT[%u]: %s\r\n", (unsigned)sizeof(payload), line);

    osThreadYield();
  }
  /* USER CODE END Telem_process */
}

void HAL_TIM_PeriodElapsedCallback(TIM_HandleTypeDef *htim)
{
  if (htim->Instance == TIM17)
  {
    HAL_IncTick();
  }
  /* USER CODE BEGIN Callback 1 */
  /* TIM1 update ISR clocks the software UART (kept here so regen won't drop it) */
  if (htim->Instance == TIM1)
  {
    SoftUartHandler();
  }
  /* USER CODE END Callback 1 */
}

void Error_Handler(void)
{
  __disable_irq();
  while (1)
  {
  }
}
